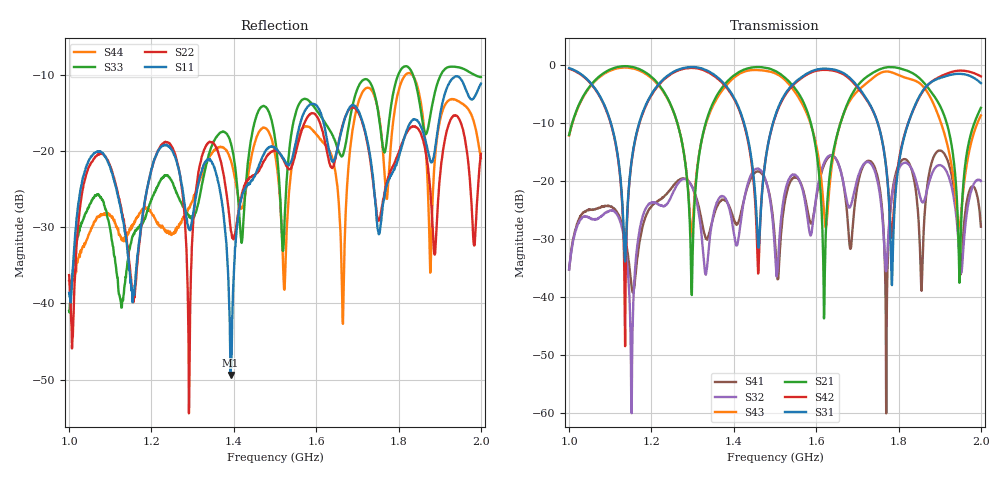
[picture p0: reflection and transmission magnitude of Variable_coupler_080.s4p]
#  HZ  S  DB  R  50.00
! Rohde & Schwarz Vector Network Analyzer
! Rohde-Schwarz,ZNB8-4Port,1311601044102961,2.82
! Created: UTC 1/17/2019, 3:15:21 PM
! freq[Hz]  db:S11  ang:S11  db:S12  ang:S12  db:S13  ang:S13  db:S14  ang:S14
!  db:S21  ang:S21  db:S22  ang:S22  db:S23  ang:S23  db:S24  ang:S24
!  db:S31  ang:S31  db:S32  ang:S32  db:S33  ang:S33  db:S34  ang:S34
!  db:S41  ang:S41  db:S42  ang:S42  db:S43  ang:S43  db:S44  ang:S44
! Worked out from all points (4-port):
!   1001 points, 1 GHz to 2 GHz, reference 50 ohm
!   strongest paths, dB at 1 GHz, 1.25 GHz, 1.5 GHz, 1.75 GHz, 2 GHz:
!     S31: -0.6, -1.4, -8.9, -10.2, -3.2
!     S42: -0.7, -1.5, -9.1, -10.2, -2.0
!     S21: -12.1, -7.5, -1.1, -1.0, -7.5
!     S43: -12.2, -7.5, -1.5, -1.7, -8.8
!     S32: -35.3, -22.4, -32.3, -20.5, -20.0
!     S41: -35.3, -21.2, -30.5, -19.6, -27.9
!   lowest |S11| = -49.4 dB at 1.392 GHz (marker M1), VSWR 1.01, Z = 49.8 + j0.231 ohm
!   |S11| at or under -10 dB: start of sweep to end of sweep
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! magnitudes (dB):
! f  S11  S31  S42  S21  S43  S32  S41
! 1 GHz  -38.6  -0.6  -0.7  -12.1  -12.2  -35.3  -35.3
! 1.136 GHz  -30.7  -33.9  -48.5  -0.3  -0.5  -31.0  -29.8
! 1.298 GHz  -29.3  -0.4  -0.6  -39.7  -29.5  -21.0  -20.9
! 1.392 GHz  -49.4  -4.7  -4.9  -2.4  -2.8  -25.7  -25.0
! 1.619 GHz  -16.5  -0.7  -0.9  -43.7  -25.3  -17.0  -17.3
! 1.784 GHz  -23.0  -38.0  -29.8  -0.4  -1.4  -22.7  -22.4
! 2 GHz  -11.2  -3.2  -2.0  -7.5  -8.8  -20.0  -27.9
